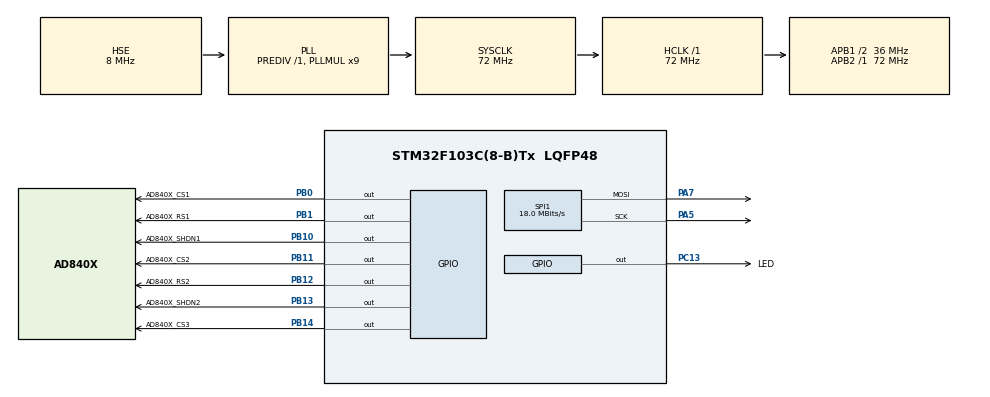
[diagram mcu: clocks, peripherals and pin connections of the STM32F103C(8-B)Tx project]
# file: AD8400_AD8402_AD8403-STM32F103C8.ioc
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Mcu.Family=STM32F1
Mcu.Name=STM32F103C(8-B)Tx
Mcu.Package=LQFP48
NVIC.PriorityGroup=NVIC_PRIORITYGROUP_4
PA13.Mode=Serial_Wire
PA13.Signal=SYS_JTMS-SWDIO
PA14.Mode=Serial_Wire
PA14.Signal=SYS_JTCK-SWCLK
PA5.Mode=TX_Only_Simplex_Unidirect_Master
PA5.Signal=SPI1_SCK
PA7.Mode=TX_Only_Simplex_Unidirect_Master
PA7.Signal=SPI1_MOSI
PB0.GPIO_Label=AD840X_CS1
PB0.Signal=GPIO_Output
PB1.GPIO_Label=AD840X_RS1
PB1.Signal=GPIO_Output
PB10.GPIO_Label=AD840X_SHDN1
PB10.Signal=GPIO_Output
PB11.GPIO_Label=AD840X_CS2
PB11.Signal=GPIO_Output
PB12.GPIO_Label=AD840X_RS2
PB12.Signal=GPIO_Output
PB13.GPIO_Label=AD840X_SHDN2
PB13.Signal=GPIO_Output
PB14.GPIO_Label=AD840X_CS3
PB14.Signal=GPIO_Output
PC13-TAMPER-RTC.GPIO_Label=LED
PC13-TAMPER-RTC.Signal=GPIO_Output
PD0-OSC_IN.Mode=HSE-External-Oscillator
PD0-OSC_IN.Signal=RCC_OSC_IN
PD1-OSC_OUT.Mode=HSE-External-Oscillator
PD1-OSC_OUT.Signal=RCC_OSC_OUT
ProjectManager.HeapSize=0x200
ProjectManager.StackSize=0x400
ProjectManager.TargetToolchain=STM32CubeIDE
RCC.AHBFreq_Value=72000000
RCC.APB1CLKDivider=RCC_HCLK_DIV2
RCC.APB1Freq_Value=36000000
RCC.APB1TimFreq_Value=72000000
RCC.APB2Freq_Value=72000000
RCC.APB2TimFreq_Value=72000000
RCC.HCLKFreq_Value=72000000
RCC.PLLMUL=RCC_PLL_MUL9
RCC.PLLSourceVirtual=RCC_PLLSOURCE_HSE
RCC.SYSCLKFreq_VALUE=72000000
RCC.SYSCLKSource=RCC_SYSCLKSOURCE_PLLCLK
RCC.USBFreq_Value=72000000
SPI1.BaudRatePrescaler=SPI_BAUDRATEPRESCALER_4
SPI1.CLKPolarity=SPI_POLARITY_LOW
SPI1.CalculateBaudRate=18.0 MBits/s
SPI1.DataSize=SPI_DATASIZE_8BIT
SPI1.Direction=SPI_DIRECTION_2LINES
SPI1.Mode=SPI_MODE_MASTER
SPI1.VirtualType=VM_MASTER
board=custom

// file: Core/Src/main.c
/* USER CODE BEGIN Header */
/**
 ******************************************************************************
 * @file           : main.c
 * @brief          : Main program body
 ******************************************************************************
 * @attention
 *
 * Copyright (c) 2025 STMicroelectronics.
 * All rights reserved.
 *
 * This software is licensed under terms that can be found in the LICENSE file
 * in the root directory of this software component.
 * If no LICENSE file comes with this software, it is provided AS-IS.
 *
 ******************************************************************************
 */
/*
 * AD840X系列数字电位器驱动库
 * 雪豹  编写  github.com/2827700630
 * 编码UTF-8
 * 说明在AD840X.h文件中，也可以看readme.md
 * 如果您需要在其他项目中使用这个AD840X驱动，只需：
 * 1. 在STM32CubeMX中配置SPI外设和GPIO引脚
 * 2. 拷贝AD840X.c和AD840X.h两个文件
 * 3. 在您的代码中包含AD840X.h头文件（见第38行）
 * 4. 创建AD840X_HandleTypeDef结构体变量并调用AD840X_Init初始化（见第59行）
 * 5. 然后就可以自由使用AD840X_Write函数了
 */
/* USER CODE END Header */
#include "main.h"
#include "spi.h"
#include "gpio.h"

/* USER CODE BEGIN Includes */
#include "AD840X.h" // 引入AD840X驱动库
/* USER CODE END Includes */

/* USER CODE BEGIN PV */
// 定义AD840X设备句柄
AD840X_HandleTypeDef hAD840X_1; // 第一个设备
/* USER CODE END PV */

void SystemClock_Config(void);

int main(void)
{

  /* MCU Configuration--------------------------------------------------------*/

  /* Reset of all peripherals, Initializes the Flash interface and the Systick. */
  HAL_Init();

  /* Configure the system clock */
  SystemClock_Config();

  /* Initialize all configured peripherals */
  MX_GPIO_Init();
  MX_SPI1_Init();
  /* USER CODE BEGIN 2 */

  HAL_GPIO_WritePin(LED_GPIO_Port, LED_Pin, GPIO_PIN_SET); // 打开LED指示灯
  // 初始化第一个AD840X数字电位器，使用完整引脚配置
  AD840X_Init(&hAD840X_1, &hspi1, AD840X_CS1_GPIO_Port, AD840X_CS1_Pin);                                          // 必要配置
  AD840X_Config_Pins(&hAD840X_1, AD840X_SHDN1_GPIO_Port, AD840X_SHDN1_Pin, AD840X_RS1_GPIO_Port, AD840X_RS1_Pin); // 可选配置

  // 复位所有设备的通道到中间值（128）
  AD840X_Reset(&hAD840X_1); // 复位
  HAL_Delay(1000);

  HAL_GPIO_WritePin(LED_GPIO_Port, LED_Pin, GPIO_PIN_RESET); // 关闭LED指示灯

  // 设置初始值 - 使用新的函数，更直观地按电阻值设置
  AD840X_Write(&hAD840X_1, AD840X_CHANNEL_1, 128); // 设置为中间值（128）
  // 设置初始电阻值（更直观，直接使用欧姆值）
  AD840X_WriteResistance(&hAD840X_1, AD840X_CHANNEL_1, 100.0f, AD840X_10K_OHM); // 设置为100Ω,程序会计算对应最近的值

  HAL_GPIO_WritePin(LED_GPIO_Port, LED_Pin, GPIO_PIN_SET); // 打开LED指示灯
  AD840X_Shutdown(&hAD840X_1, 0);                          // 将设备1设置为低功耗模式

  HAL_Delay(1000);

  HAL_GPIO_WritePin(LED_GPIO_Port, LED_Pin, GPIO_PIN_RESET); // 关闭LED指示灯
  AD840X_Shutdown(&hAD840X_1, 1);                            // 恢复设备1的正常模式

  float rate = 0.0f; // 设置分压比例（0.0~1.0）
  /* USER CODE END 2 */

  /* Infinite loop */
  /* USER CODE BEGIN WHILE */
  while (1)
  {
    // 控制LED指示灯闪烁
    HAL_GPIO_TogglePin(LED_GPIO_Port, LED_Pin);
    AD840X_WriteRatio(&hAD840X_1, AD840X_CHANNEL_1, rate);
    rate = rate + 0.1f;
    if (rate > 1.0f)
    {
      rate = 0.0f; // 重置比例
    }
    HAL_Delay(2000);

    /* USER CODE END WHILE */

  }
}

void SystemClock_Config(void)
{
  RCC_OscInitTypeDef RCC_OscInitStruct = {0};
  RCC_ClkInitTypeDef RCC_ClkInitStruct = {0};

  /** Initializes the RCC Oscillators according to the specified parameters
   * in the RCC_OscInitTypeDef structure.
   */
  RCC_OscInitStruct.OscillatorType = RCC_OSCILLATORTYPE_HSE;
  RCC_OscInitStruct.HSEState = RCC_HSE_ON;
  RCC_OscInitStruct.HSEPredivValue = RCC_HSE_PREDIV_DIV1;
  RCC_OscInitStruct.HSIState = RCC_HSI_ON;
  RCC_OscInitStruct.PLL.PLLState = RCC_PLL_ON;
  RCC_OscInitStruct.PLL.PLLSource = RCC_PLLSOURCE_HSE;
  RCC_OscInitStruct.PLL.PLLMUL = RCC_PLL_MUL9;
  if (HAL_RCC_OscConfig(&RCC_OscInitStruct) != HAL_OK)
  {
    Error_Handler();
  }

  /** Initializes the CPU, AHB and APB buses clocks
   */
  RCC_ClkInitStruct.ClockType = RCC_CLOCKTYPE_HCLK | RCC_CLOCKTYPE_SYSCLK | RCC_CLOCKTYPE_PCLK1 | RCC_CLOCKTYPE_PCLK2;
  RCC_ClkInitStruct.SYSCLKSource = RCC_SYSCLKSOURCE_PLLCLK;
  RCC_ClkInitStruct.AHBCLKDivider = RCC_SYSCLK_DIV1;
  RCC_ClkInitStruct.APB1CLKDivider = RCC_HCLK_DIV2;
  RCC_ClkInitStruct.APB2CLKDivider = RCC_HCLK_DIV1;

  if (HAL_RCC_ClockConfig(&RCC_ClkInitStruct, FLASH_LATENCY_2) != HAL_OK)
  {
    Error_Handler();
  }
}

void Error_Handler(void)
{
  __disable_irq();
  while (1)
  {
  }
}
